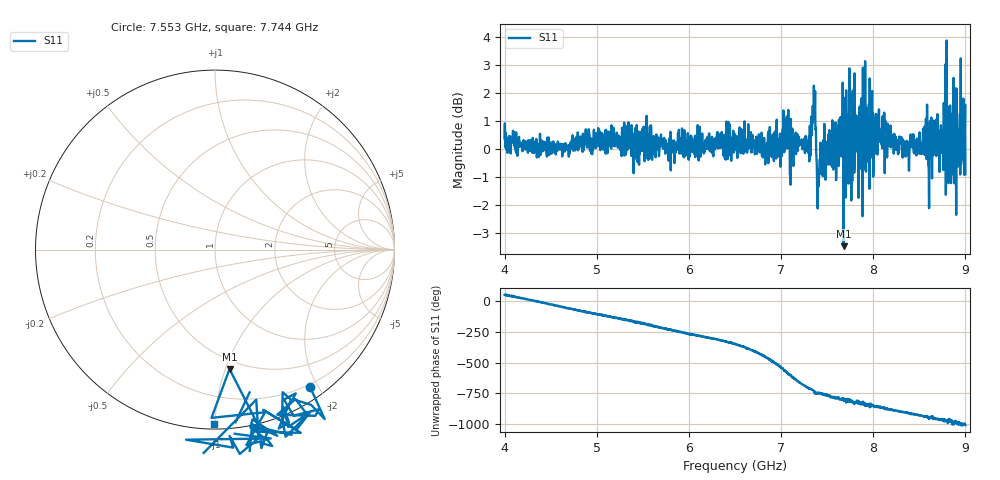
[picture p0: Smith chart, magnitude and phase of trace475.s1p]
! Created with skrf 1.8.0 (http://scikit-rf.org).
# Hz S RI R 50.0
!freq ReS11 ImS11
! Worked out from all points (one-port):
!   1601 points, 4 GHz to 9 GHz, reference 50 ohm
!   lowest |S11| = -3.5 dB at 7.678 GHz (marker M1), VSWR 5.07, Z = 21.4 - j51.7 ohm
!   |S11| at or under -10 dB: nowhere
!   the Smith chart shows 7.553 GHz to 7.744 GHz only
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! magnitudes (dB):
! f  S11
! 4 GHz  0.4
! 4.625 GHz  -0.3
! 5.25 GHz  0.1
! 5.875 GHz  0.0
! 6.5 GHz  0.5
! 6.984 GHz  -0.2
! 7.038 GHz  0.1
! 7.125 GHz  0.1
! 7.294 GHz  -0.1
! 7.347 GHz  1.1
! 7.409 GHz  -1.3
! 7.588 GHz  0.5
! 7.647 GHz  1.1
! 7.678 GHz  -3.5
! 7.716 GHz  0.6
! 7.75 GHz  0.2
! 7.859 GHz  0.8
! 7.891 GHz  0.4
! 7.941 GHz  1.1
! 8.05 GHz  0.9
! 8.375 GHz  -0.2
! 8.562 GHz  -0.1
! 8.612 GHz  0.4
! 8.788 GHz  -1.6
! 8.841 GHz  1.0
! 8.919 GHz  0.0
! 8.959 GHz  1.7
! 9 GHz  -0.9
